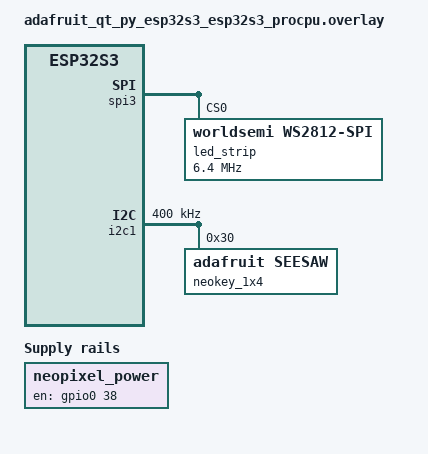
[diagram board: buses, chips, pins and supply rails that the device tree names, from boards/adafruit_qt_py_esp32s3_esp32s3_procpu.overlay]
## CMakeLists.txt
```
cmake_minimum_required(VERSION 3.20.0)

find_package(Zephyr REQUIRED HINTS $ENV{ZEPHYR_BASE})
project(joystick_controller)

target_sources(app PRIVATE src/main.c)
add_subdirectory(src/common common)
add_subdirectory(src/modules/led led)
add_subdirectory(src/modules/button button)
```

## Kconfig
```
menu "Application"

rsource "src/modules/led/Kconfig.led"
rsource "src/modules/button/Kconfig.button"

endmenu

menu "Zephyr Kernel"
source "Kconfig.zephyr"
endmenu
```

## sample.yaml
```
# This file is provided so that the application can be compiled using Twister,
# the Zephyr testing tool. In this file, multiple combinations can be specified,
# so that you can easily test all of them locally or in CI.
sample:
  description: Joystick controller application
  name: joystick-controller 
common:
  build_only: true
  integration_platforms:
    - adafruit_qt_py_esp32s3
tests:
  app.default: {}
#  app.debug:
#    extra_overlay_confs:
#      - debug.conf
```

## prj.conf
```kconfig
# Logging
CONFIG_LOG=y

# ZBus
CONFIG_ZBUS=y

# Shell Testing
CONFIG_SHELL=y
CONFIG_I2C_SHELL=y
```

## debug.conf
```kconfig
# compiler
CONFIG_DEBUG_OPTIMIZATIONS=y

#Make Logging more responsive for better visualization
CONFIG_LOG_PROCESS_TRIGGER_THRESHOLD=1
CONFIG_LED_MODULE_LOG_LEVEL_DBG=y
CONFIG_BUTTON_MODULE_LOG_LEVEL_DBG=y
```

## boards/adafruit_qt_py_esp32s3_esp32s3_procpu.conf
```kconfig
# Drivers
CONFIG_REGULATOR=y
CONFIG_LED_STRIP=y

# CONFIG_SEESAW_LOG_LEVEL_DBG=y
```

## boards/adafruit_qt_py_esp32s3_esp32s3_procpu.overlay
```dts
#include <zephyr/dt-bindings/led/led.h>

&spi3 {
	/* Workaround to support WS2812 driver */
	line-idle-low;

	led_strip: ws2812@0 {
		compatible = "worldsemi,ws2812-spi";

		/* SPI */
		reg = <0>; /* ignored, but necessary for SPI bindings */
		spi-max-frequency = <6400000>;

		/* WS2812 */
		chain-length = <1>; /* arbitrary; change at will */
		spi-cpha;
		spi-one-frame = <0xf0>; /* 11110000: 625 ns high and 625 ns low */
		spi-zero-frame = <0xc0>; /* 11000000: 312.5 ns high and 937.5 ns low */
		color-mapping = <LED_COLOR_ID_GREEN
				 LED_COLOR_ID_RED
				 LED_COLOR_ID_BLUE>;
	};
};

&pinctrl {
	spim3_default: spim3_default {
		group2 {
			pinmux = <SPIM3_MOSI_GPIO39>;
		};
	};
};

&i2c1 {
	clock-frequency = <I2C_BITRATE_FAST>;

	neokey_1x4: seesaw@30 {
		compatible = "adafruit,seesaw";
		status = "okay";
		reg = <0x30>;
		read-delay-ms = <100>;
	};
};

/ {
	/* Regulators */
	neopixel_power {
		compatible = "regulator-fixed";
		regulator-name = "neopixel_power";
		enable-gpios = <&gpio0 38 GPIO_ACTIVE_HIGH>;
		regulator-boot-on;
	};

	aliases {
		led-strip = &led_strip;
	};
};
```

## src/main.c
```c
#include <zephyr/zbus/zbus.h>

#include "message_channel.h"

#include <zephyr/logging/log.h>
LOG_MODULE_REGISTER(app, CONFIG_LED_MODULE_LOG_LEVEL);

/* Boot to State Standby */
static enum sys_states sys_state = SYS_STANDBY;

static void led_msg(enum sys_states msg)
{
	int err;

	err = zbus_chan_pub(&led_ch, &msg, K_SECONDS(1));
	if (err) {
		LOG_ERR("zbus_chan_pub, error: %d", err);
	}
}

static void button_msg_cb(const struct zbus_channel *chan)
{
	const enum sys_events *msg_type;

	/* Get message from channel. */
	msg_type = zbus_chan_const_msg(chan);

	if (*msg_type != SYS_BUTTON_PRESSED) {
		/* Ignore other messages */
		uint32_t button_evt = *msg_type - 1;
		LOG_INF("Button %d %s", button_evt % BUTTON_D_PRESSED,
			button_evt > BUTTON_D_PRESSED ? "released " : "pressed");
		return;
	}

	/* Assign new system state */
	switch (sys_state) {
	case SYS_SLEEP:
		sys_state = SYS_STANDBY;
		LOG_INF("System state standby");
		break;
	case SYS_STANDBY:
		sys_state = SYS_SLEEP;
		LOG_INF("System state sleep");
		break;
	/* Add your code here */

	/* */
	default:
		return;
		break;
	}

	led_msg(sys_state);
}

int main(void)
{
	/* Notify the LED module about the initial system state */
	led_msg(sys_state);

	return 0;
}

ZBUS_LISTENER_DEFINE(button_test, button_msg_cb);
ZBUS_CHAN_ADD_OBS(button_ch, button_test, DEFAULT_OBS_PRIO);
```
